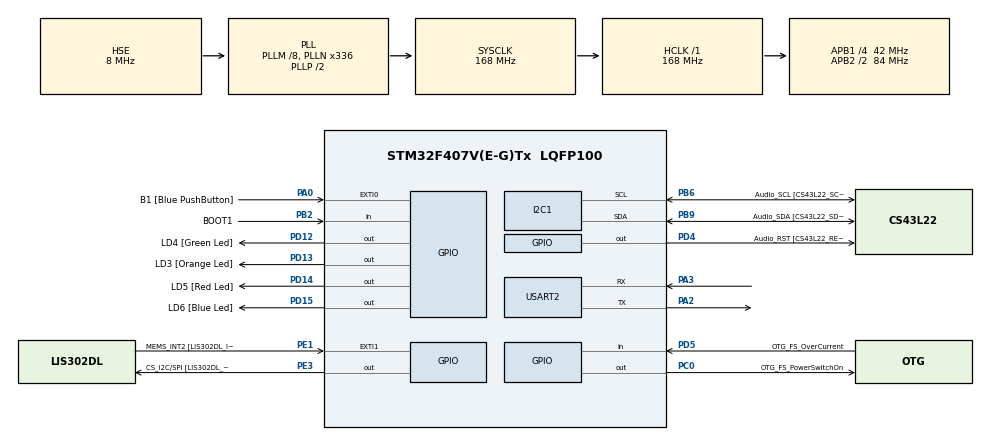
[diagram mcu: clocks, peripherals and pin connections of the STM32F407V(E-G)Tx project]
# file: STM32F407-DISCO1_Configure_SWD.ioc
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FREERTOS.BinarySemaphores01=myBinarySemITM,Dynamic,NULL,Available
FREERTOS.Mutexes01=myMutexITM,Dynamic,NULL,Available
FREERTOS.Tasks01=defaultTask,27,256,StartDefaultTask,Default,NULL,Dynamic,NULL,NULL;newAcquireTask,12,256,StartAcquireTask,Default,NULL,Dynamic,NULL,NULL;newAcquireTask2,13,128,StartAcquireTask2,Default,NULL,Dynamic,NULL,NULL
FREERTOS.configUSE_NEWLIB_REENTRANT=1
Mcu.Family=STM32F4
Mcu.Name=STM32F407V(E-G)Tx
Mcu.Package=LQFP100
NVIC.PriorityGroup=NVIC_PRIORITYGROUP_4
NVIC.TIM6_DAC_IRQn=true\:15\:0\:false\:false\:true\:false\:false\:true\:true
NVIC.TimeBase=TIM6_DAC_IRQn
NVIC.TimeBaseIP=TIM6
PA0-WKUP.GPIO_Label=B1 [Blue PushButton]
PA0-WKUP.GPIO_ModeDefaultEXTI=GPIO_MODE_EVT_RISING
PA0-WKUP.GPIO_PuPd=GPIO_NOPULL
PA0-WKUP.Signal=GPXTI0
PA10.GPIO_Label=OTG_FS_ID
PA10.GPIO_Mode=GPIO_MODE_AF_PP
PA10.GPIO_PuPd=GPIO_NOPULL
PA10.GPIO_Speed=GPIO_SPEED_FREQ_LOW
PA10.Signal=USB_OTG_FS_ID
PA11.GPIO_Label=OTG_FS_DM
PA11.GPIO_Mode=GPIO_MODE_AF_PP
PA11.GPIO_PuPd=GPIO_NOPULL
PA11.GPIO_Speed=GPIO_SPEED_FREQ_LOW
PA11.Signal=USB_OTG_FS_DM
PA12.GPIO_Label=OTG_FS_DP
PA12.GPIO_Mode=GPIO_MODE_AF_PP
PA12.GPIO_PuPd=GPIO_NOPULL
PA12.GPIO_Speed=GPIO_SPEED_FREQ_LOW
PA12.Signal=USB_OTG_FS_DP
PA13.GPIO_Label=SWDIO
PA13.Mode=Trace_Asynchronous_SW
PA13.Signal=SYS_JTMS-SWDIO
PA14.GPIO_Label=SWCLK
PA14.Mode=Trace_Asynchronous_SW
PA14.Signal=SYS_JTCK-SWCLK
PA2.Mode=Asynchronous
PA2.Signal=USART2_TX
PA3.Mode=Asynchronous
PA3.Signal=USART2_RX
PA4.GPIO_Label=I2S3_WS [CS43L22_LRCK]
PA4.GPIO_Mode=GPIO_MODE_AF_PP
PA4.GPIO_PuPd=GPIO_NOPULL
PA4.GPIO_Speed=GPIO_SPEED_FREQ_LOW
PA4.Signal=I2S3_WS
PA5.GPIO_Label=SPI1_SCK [LIS302DL_SCL/SPC]
PA5.GPIO_Mode=GPIO_MODE_AF_PP
PA5.GPIO_PuPd=GPIO_NOPULL
PA5.GPIO_Speed=GPIO_SPEED_FREQ_LOW
PA5.Signal=SPI1_SCK
PA6.GPIO_Label=SPI1_MISO [LIS302DL_SDO]
PA6.GPIO_Mode=GPIO_MODE_AF_PP
PA6.GPIO_PuPd=GPIO_NOPULL
PA6.GPIO_Speed=GPIO_SPEED_FREQ_LOW
PA6.Signal=SPI1_MISO
PA7.GPIO_Label=SPI1_MOSI [LIS302DL_SDA/SDI/SDO]
PA7.GPIO_Mode=GPIO_MODE_AF_PP
PA7.GPIO_PuPd=GPIO_NOPULL
PA7.GPIO_Speed=GPIO_SPEED_FREQ_LOW
PA7.Signal=SPI1_MOSI
PA9.GPIO_Label=VBUS_FS
PA9.GPIO_Mode=GPIO_MODE_INPUT
PA9.GPIO_PuPd=GPIO_NOPULL
PA9.Signal=USB_OTG_FS_VBUS
PB10.GPIO_Label=CLK_IN [MP45DT02_CLK]
PB10.GPIO_Mode=GPIO_MODE_AF_PP
PB10.GPIO_PuPd=GPIO_NOPULL
PB10.GPIO_Speed=GPIO_SPEED_FREQ_LOW
PB10.Signal=I2S2_CK
PB2.GPIO_Label=BOOT1
PB2.GPIO_Mode=GPIO_MODE_INPUT
PB2.GPIO_PuPd=GPIO_NOPULL
PB2.Signal=GPIO_Input
PB3.GPIO_Label=SWO
PB3.Mode=Trace_Asynchronous_SW
PB3.Signal=SYS_JTDO-SWO
PB6.GPIO_Label=Audio_SCL [CS43L22_SCL]
PB6.GPIO_Mode=GPIO_MODE_AF_OD
PB6.GPIO_Pu=GPIO_PULLUP
PB6.GPIO_PuPd=GPIO_NOPULL
PB6.GPIO_Speed=GPIO_SPEED_FREQ_LOW
PB6.Mode=I2C
PB6.Signal=I2C1_SCL
PB9.GPIO_Label=Audio_SDA [CS43L22_SDA]
PB9.GPIO_Mode=GPIO_MODE_AF_OD
PB9.GPIO_Pu=GPIO_PULLUP
PB9.GPIO_PuPd=GPIO_NOPULL
PB9.GPIO_Speed=GPIO_SPEED_FREQ_LOW
PB9.Mode=I2C
PB9.Signal=I2C1_SDA
PC0.GPIO_Label=OTG_FS_PowerSwitchOn
PC0.GPIO_PuPd=GPIO_NOPULL
PC0.GPIO_Speed=GPIO_SPEED_FREQ_LOW
PC0.PinState=GPIO_PIN_SET
PC0.Signal=GPIO_Output
PC10.GPIO_Label=I2S3_SCK [CS43L22_SCLK]
PC10.GPIO_Mode=GPIO_MODE_AF_PP
PC10.GPIO_PuPd=GPIO_NOPULL
PC10.GPIO_Speed=GPIO_SPEED_FREQ_LOW
PC10.Signal=I2S3_CK
PC12.GPIO_Label=I2S3_SD [CS43L22_SDIN]
PC12.GPIO_Mode=GPIO_MODE_AF_PP
PC12.GPIO_PuPd=GPIO_NOPULL
PC12.GPIO_Speed=GPIO_SPEED_FREQ_LOW
PC12.Signal=I2S3_SD
PC14-OSC32_IN.GPIO_Label=PC14-OSC32_IN
PC14-OSC32_IN.Mode=LSE-External-Oscillator
PC14-OSC32_IN.Signal=RCC_OSC32_IN
PC15-OSC32_OUT.GPIO_Label=PC15-OSC32_OUT
PC15-OSC32_OUT.Mode=LSE-External-Oscillator
PC15-OSC32_OUT.Signal=RCC_OSC32_OUT
PC3.GPIO_Label=PDM_OUT [MP45DT02_DOUT]
PC3.GPIO_Mode=GPIO_MODE_AF_PP
PC3.GPIO_PuPd=GPIO_NOPULL
PC3.GPIO_Speed=GPIO_SPEED_FREQ_LOW
PC3.Signal=I2S2_SD
PC7.GPIO_Label=I2S3_MCK [CS43L22_MCLK]
PC7.GPIO_Mode=GPIO_MODE_AF_PP
PC7.GPIO_PuPd=GPIO_NOPULL
PC7.GPIO_Speed=GPIO_SPEED_FREQ_LOW
PC7.Signal=I2S3_MCK
PD12.GPIO_Label=LD4 [Green Led]
PD12.GPIO_PuPd=GPIO_NOPULL
PD12.GPIO_Speed=GPIO_SPEED_FREQ_LOW
PD12.Signal=GPIO_Output
PD13.GPIO_Label=LD3 [Orange Led]
PD13.GPIO_PuPd=GPIO_NOPULL
PD13.GPIO_Speed=GPIO_SPEED_FREQ_LOW
PD13.Signal=GPIO_Output
PD14.GPIO_Label=LD5 [Red Led]
PD14.GPIO_PuPd=GPIO_NOPULL
PD14.GPIO_Speed=GPIO_SPEED_FREQ_LOW
PD14.Signal=GPIO_Output
PD15.GPIO_Label=LD6 [Blue Led]
PD15.GPIO_PuPd=GPIO_NOPULL
PD15.GPIO_Speed=GPIO_SPEED_FREQ_LOW
PD15.Signal=GPIO_Output
PD4.GPIO_Label=Audio_RST [CS43L22_RESET]
PD4.GPIO_PuPd=GPIO_NOPULL
PD4.GPIO_Speed=GPIO_SPEED_FREQ_LOW
PD4.Signal=GPIO_Output
PD5.GPIO_Label=OTG_FS_OverCurrent
PD5.GPIO_Mode=GPIO_MODE_INPUT
PD5.GPIO_PuPd=GPIO_NOPULL
PD5.Signal=GPIO_Input
PE1.GPIO_Label=MEMS_INT2 [LIS302DL_INT2]
PE1.GPIO_ModeDefaultEXTI=GPIO_MODE_EVT_RISING
PE1.GPIO_PuPd=GPIO_NOPULL
PE1.Signal=GPXTI1
PE3.GPIO_Label=CS_I2C/SPI [LIS302DL_CS_I2C/SPI]
PE3.GPIO_PuPd=GPIO_NOPULL
PE3.GPIO_Speed=GPIO_SPEED_FREQ_LOW
PE3.Signal=GPIO_Output
PH0-OSC_IN.GPIO_Label=PH0-OSC_IN
PH0-OSC_IN.Mode=HSE-External-Oscillator
PH0-OSC_IN.Signal=RCC_OSC_IN
PH1-OSC_OUT.GPIO_Label=PH1-OSC_OUT
PH1-OSC_OUT.Mode=HSE-External-Oscillator
PH1-OSC_OUT.Signal=RCC_OSC_OUT
ProjectManager.HeapSize=0x200
ProjectManager.StackSize=0x400
ProjectManager.TargetToolchain=STM32CubeIDE
RCC.48MHZClocksFreq_Value=48000000
RCC.AHBFreq_Value=168000000
RCC.APB1CLKDivider=RCC_HCLK_DIV4
RCC.APB1Freq_Value=42000000
RCC.APB1TimFreq_Value=84000000
RCC.APB2CLKDivider=RCC_HCLK_DIV2
RCC.APB2Freq_Value=84000000
RCC.APB2TimFreq_Value=168000000
RCC.CortexFreq_Value=168000000
RCC.HCLKFreq_Value=168000000
RCC.HSE_VALUE=8000000
RCC.HSI_VALUE=16000000
RCC.PLLM=8
RCC.PLLN=336
RCC.PLLQ=7
RCC.PLLSourceVirtual=RCC_PLLSOURCE_HSE
RCC.SYSCLKFreq_VALUE=168000000
RCC.SYSCLKSource=RCC_SYSCLKSOURCE_PLLCLK
RCC.VCOOutputFreq_Value=336000000
USART2.VirtualMode=VM_ASYNC
VP_FREERTOS_VS_CMSIS_V2.Mode=CMSIS_V2
VP_SYS_VS_tim6.Mode=TIM6
board=STM32F407G-DISC1

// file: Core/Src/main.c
/* USER CODE BEGIN Header */
/**
 ******************************************************************************
 * @file           : main.c
 * @brief          : Main program body
 * @details Target Board: STM32F407-DISCO1
 ******************************************************************************
 * @attention
 *
 * Copyright (c) 2026 STMicroelectronics.
 * All rights reserved.
 *
 * This software is licensed under terms that can be found in the LICENSE file
 * in the root directory of this software component.
 * If no LICENSE file comes with this software, it is provided AS-IS.
 *
 ******************************************************************************
 */
/* USER CODE END Header */
#include "main.h"
#include "cmsis_os.h"

/* USER CODE BEGIN Includes */

#include "custom.h"
#include "customTask.h"
#include "FreeRTOS.h"
#include "queue.h"

/* USER CODE END Includes */

/* USER CODE BEGIN PM */

volatile uint32_t Count = 0;

/* USER CODE END PM */

I2C_HandleTypeDef hi2c1;

UART_HandleTypeDef huart2;

/* Definitions for defaultTask */
osThreadId_t defaultTaskHandle;
const osThreadAttr_t defaultTask_attributes = { .name = "DefaultTask",
		.stack_size = 256 * 4, .priority = (osPriority_t) osPriorityNormal3, };

/* Definitions for newAcquireTask */
osThreadId_t newAcquireTaskHandle;
const osThreadAttr_t newAcquireTask_attributes = { .name = "CorrectedTask",
		.stack_size = 128 * 8, .priority = (osPriority_t) osPriorityLow4, };

/* Definitions for newAcquireTask2 */
osThreadId_t newAcquireTask2Handle;
const osThreadAttr_t newAcquireTask2_attributes = { .name = "newAcquireTask2",
		.stack_size = 128 * 8, .priority = (osPriority_t) osPriorityLow5, };

/* Definitions for myMutexITM */
osMutexId_t myMutexITMHandle;
const osMutexAttr_t myMutexITM_attributes = { .name = "myMutexITM" };

/* Definitions for myBinarySemITM */
osSemaphoreId_t myBinarySemITMHandle;
const osSemaphoreAttr_t myBinarySemITM_attributes = { .name = "myBinarySemITM" };
/* USER CODE BEGIN PV */

osThreadId_t debugTaskHandle;
const osThreadAttr_t taskDubug_attribute = { .name = "newDebugTask",
		.stack_size = 128.4 * 8, .priority =
				(osPriority_t) osPriorityAboveNormal4, };

/* Define Queue */
QueueHandle_t myQueue;

uint8_t retData;

/* USER CODE END PV */

void SystemClock_Config(void);
static void MX_GPIO_Init(void);
static void MX_I2C1_Init(void);
static void MX_USART2_UART_Init(void);
void StartDefaultTask(void *argument);

/* USER CODE BEGIN PFP */
void StartDebugTask(void *argument);

/* USER CODE END PFP */

int main(void)
{

	/* MCU Configuration--------------------------------------------------------*/

	/* Reset of all peripherals, Initializes the Flash interface and the Systick. */
	HAL_Init();

	/* Configure the system clock */
	SystemClock_Config();

	/* Initialize all configured peripherals */
	MX_GPIO_Init();
	MX_I2C1_Init();
	MX_USART2_UART_Init();

	/* USER CODE BEGIN 2 */

	DWT_Int();

	/* Initalize Queue */
	someQueue_t testQueue;
	initSomeQueue(&testQueue);

	/*Enqueue Data */
	enqueueData(&testQueue, 5);
	enqueueData(&testQueue, 10);
	enqueueData(&testQueue, 15);
	enqueueData(&testQueue, 20);

	/*Dequeue Data */
	retData = dequeueData(&testQueue);
	retData = dequeueData(&testQueue);
	retData = dequeueData(&testQueue);
	retData = dequeueData(&testQueue);

	retData = dequeueData(&testQueue);

	SWO_Pin_Init();
	ITM_TPIU_Init();

	/*Initializng Queue */
	myQueue = xQueueCreate(10, sizeof(char));

	/* USER CODE END 2 */

	/* Init scheduler */
	osKernelInitialize();
	/* Create the mutex(es) */
	/* creation of myMutexITM */
	myMutexITMHandle = osMutexNew(&myMutexITM_attributes);

	/* Create the semaphores(s) */
	/* creation of myBinarySemITM */
	myBinarySemITMHandle = osSemaphoreNew(1, 1, &myBinarySemITM_attributes);

	/* Create the thread(s) */
	/* creation of defaultTask */
	defaultTaskHandle = osThreadNew(StartDefaultTask, NULL,
			&defaultTask_attributes);

	/* creation of newAcquireTask */
	newAcquireTaskHandle = osThreadNew(StartAcquireTask, NULL,
			&newAcquireTask_attributes);

	/* creation of newAcquireTask2 */
	newAcquireTask2Handle = osThreadNew(StartAcquireTask2, NULL,
			&newAcquireTask2_attributes);

	/* USER CODE BEGIN RTOS_THREADS */
	debugTaskHandle = osThreadNew(StartDebugTask, NULL, &taskDubug_attribute);

	/* add threads, ... */
	/* USER CODE END RTOS_THREADS */

	/* Start scheduler */
	osKernelStart();

	/* We should never get here as control is now taken by the scheduler */

	/* Infinite loop */
	while (1)
	{

	}
}

void SystemClock_Config(void)
{
	RCC_OscInitTypeDef RCC_OscInitStruct = { 0 };
	RCC_ClkInitTypeDef RCC_ClkInitStruct = { 0 };

	/** Configure the main internal regulator output voltage
	 */
	__HAL_RCC_PWR_CLK_ENABLE();
	__HAL_PWR_VOLTAGESCALING_CONFIG(PWR_REGULATOR_VOLTAGE_SCALE1);

	/** Initializes the RCC Oscillators according to the specified parameters
	 * in the RCC_OscInitTypeDef structure.
	 */
	RCC_OscInitStruct.OscillatorType = RCC_OSCILLATORTYPE_HSE;
	RCC_OscInitStruct.HSEState = RCC_HSE_ON;
	RCC_OscInitStruct.PLL.PLLState = RCC_PLL_ON;
	RCC_OscInitStruct.PLL.PLLSource = RCC_PLLSOURCE_HSE;
	RCC_OscInitStruct.PLL.PLLM = 8;
	RCC_OscInitStruct.PLL.PLLN = 336;
	RCC_OscInitStruct.PLL.PLLP = RCC_PLLP_DIV2;
	RCC_OscInitStruct.PLL.PLLQ = 7;
	if (HAL_RCC_OscConfig(&RCC_OscInitStruct) != HAL_OK)
	{
		Error_Handler();
	}

	/** Initializes the CPU, AHB and APB buses clocks
	 */
	RCC_ClkInitStruct.ClockType = RCC_CLOCKTYPE_HCLK | RCC_CLOCKTYPE_SYSCLK
			| RCC_CLOCKTYPE_PCLK1 | RCC_CLOCKTYPE_PCLK2;
	RCC_ClkInitStruct.SYSCLKSource = RCC_SYSCLKSOURCE_PLLCLK;
	RCC_ClkInitStruct.AHBCLKDivider = RCC_SYSCLK_DIV1;
	RCC_ClkInitStruct.APB1CLKDivider = RCC_HCLK_DIV4;
	RCC_ClkInitStruct.APB2CLKDivider = RCC_HCLK_DIV2;

	if (HAL_RCC_ClockConfig(&RCC_ClkInitStruct, FLASH_LATENCY_5) != HAL_OK)
	{
		Error_Handler();
	}
}

static void MX_I2C1_Init(void)
{

	hi2c1.Instance = I2C1;
	hi2c1.Init.ClockSpeed = 100000;
	hi2c1.Init.DutyCycle = I2C_DUTYCYCLE_2;
	hi2c1.Init.OwnAddress1 = 0;
	hi2c1.Init.AddressingMode = I2C_ADDRESSINGMODE_7BIT;
	hi2c1.Init.DualAddressMode = I2C_DUALADDRESS_DISABLE;
	hi2c1.Init.OwnAddress2 = 0;
	hi2c1.Init.GeneralCallMode = I2C_GENERALCALL_DISABLE;
	hi2c1.Init.NoStretchMode = I2C_NOSTRETCH_DISABLE;
	if (HAL_I2C_Init(&hi2c1) != HAL_OK)
	{
		Error_Handler();
	}

}

static void MX_USART2_UART_Init(void)
{

	huart2.Instance = USART2;
	huart2.Init.BaudRate = 115200;
	huart2.Init.WordLength = UART_WORDLENGTH_8B;
	huart2.Init.StopBits = UART_STOPBITS_1;
	huart2.Init.Parity = UART_PARITY_NONE;
	huart2.Init.Mode = UART_MODE_TX_RX;
	huart2.Init.HwFlowCtl = UART_HWCONTROL_NONE;
	huart2.Init.OverSampling = UART_OVERSAMPLING_16;
	if (HAL_UART_Init(&huart2) != HAL_OK)
	{
		Error_Handler();
	}

}

static void MX_GPIO_Init(void)
{
	GPIO_InitTypeDef GPIO_InitStruct = { 0 };

	/* GPIO Ports Clock Enable */
	__HAL_RCC_GPIOE_CLK_ENABLE();
	__HAL_RCC_GPIOC_CLK_ENABLE();
	__HAL_RCC_GPIOH_CLK_ENABLE();
	__HAL_RCC_GPIOA_CLK_ENABLE();
	__HAL_RCC_GPIOB_CLK_ENABLE();
	__HAL_RCC_GPIOD_CLK_ENABLE();

	/*Configure GPIO pin Output Level */
	HAL_GPIO_WritePin(CS_I2C_SPI_GPIO_Port, CS_I2C_SPI_Pin, GPIO_PIN_RESET);

	/*Configure GPIO pin Output Level */
	HAL_GPIO_WritePin(OTG_FS_PowerSwitchOn_GPIO_Port, OTG_FS_PowerSwitchOn_Pin,
			GPIO_PIN_SET);

	/*Configure GPIO pin Output Level */
	HAL_GPIO_WritePin(GPIOD,
	LD4_Pin | LD3_Pin | LD5_Pin | LD6_Pin | Audio_RST_Pin, GPIO_PIN_RESET);

	/*Configure GPIO pin : CS_I2C_SPI_Pin */
	GPIO_InitStruct.Pin = CS_I2C_SPI_Pin;
	GPIO_InitStruct.Mode = GPIO_MODE_OUTPUT_PP;
	GPIO_InitStruct.Pull = GPIO_NOPULL;
	GPIO_InitStruct.Speed = GPIO_SPEED_FREQ_LOW;
	HAL_GPIO_Init(CS_I2C_SPI_GPIO_Port, &GPIO_InitStruct);

	/*Configure GPIO pin : OTG_FS_PowerSwitchOn_Pin */
	GPIO_InitStruct.Pin = OTG_FS_PowerSwitchOn_Pin;
	GPIO_InitStruct.Mode = GPIO_MODE_OUTPUT_PP;
	GPIO_InitStruct.Pull = GPIO_NOPULL;
	GPIO_InitStruct.Speed = GPIO_SPEED_FREQ_LOW;
	HAL_GPIO_Init(OTG_FS_PowerSwitchOn_GPIO_Port, &GPIO_InitStruct);

	/*Configure GPIO pin : PDM_OUT_Pin */
	GPIO_InitStruct.Pin = PDM_OUT_Pin;
	GPIO_InitStruct.Mode = GPIO_MODE_AF_PP;
	GPIO_InitStruct.Pull = GPIO_NOPULL;
	GPIO_InitStruct.Speed = GPIO_SPEED_FREQ_LOW;
	GPIO_InitStruct.Alternate = GPIO_AF5_SPI2;
	HAL_GPIO_Init(PDM_OUT_GPIO_Port, &GPIO_InitStruct);

	/*Configure GPIO pin : B1_Pin */
	GPIO_InitStruct.Pin = B1_Pin;
	GPIO_InitStruct.Mode = GPIO_MODE_EVT_RISING;
	GPIO_InitStruct.Pull = GPIO_NOPULL;
	HAL_GPIO_Init(B1_GPIO_Port, &GPIO_InitStruct);

	/*Configure GPIO pin : I2S3_WS_Pin */
	GPIO_InitStruct.Pin = I2S3_WS_Pin;
	GPIO_InitStruct.Mode = GPIO_MODE_AF_PP;
	GPIO_InitStruct.Pull = GPIO_NOPULL;
	GPIO_InitStruct.Speed = GPIO_SPEED_FREQ_LOW;
	GPIO_InitStruct.Alternate = GPIO_AF6_SPI3;
	HAL_GPIO_Init(I2S3_WS_GPIO_Port, &GPIO_InitStruct);

	/*Configure GPIO pins : SPI1_SCK_Pin SPI1_MISO_Pin SPI1_MOSI_Pin */
	GPIO_InitStruct.Pin = SPI1_SCK_Pin | SPI1_MISO_Pin | SPI1_MOSI_Pin;
	GPIO_InitStruct.Mode = GPIO_MODE_AF_PP;
	GPIO_InitStruct.Pull = GPIO_NOPULL;
	GPIO_InitStruct.Speed = GPIO_SPEED_FREQ_LOW;
	GPIO_InitStruct.Alternate = GPIO_AF5_SPI1;
	HAL_GPIO_Init(GPIOA, &GPIO_InitStruct);

	/*Configure GPIO pin : BOOT1_Pin */
	GPIO_InitStruct.Pin = BOOT1_Pin;
	GPIO_InitStruct.Mode = GPIO_MODE_INPUT;
	GPIO_InitStruct.Pull = GPIO_NOPULL;
	HAL_GPIO_Init(BOOT1_GPIO_Port, &GPIO_InitStruct);

	/*Configure GPIO pin : CLK_IN_Pin */
	GPIO_InitStruct.Pin = CLK_IN_Pin;
	GPIO_InitStruct.Mode = GPIO_MODE_AF_PP;
	GPIO_InitStruct.Pull = GPIO_NOPULL;
	GPIO_InitStruct.Speed = GPIO_SPEED_FREQ_LOW;
	GPIO_InitStruct.Alternate = GPIO_AF5_SPI2;
	HAL_GPIO_Init(CLK_IN_GPIO_Port, &GPIO_InitStruct);

	/*Configure GPIO pins : LD4_Pin LD3_Pin LD5_Pin LD6_Pin
	 Audio_RST_Pin */
	GPIO_InitStruct.Pin = LD4_Pin | LD3_Pin | LD5_Pin | LD6_Pin | Audio_RST_Pin;
	GPIO_InitStruct.Mode = GPIO_MODE_OUTPUT_PP;
	GPIO_InitStruct.Pull = GPIO_NOPULL;
	GPIO_InitStruct.Speed = GPIO_SPEED_FREQ_LOW;
	HAL_GPIO_Init(GPIOD, &GPIO_InitStruct);

	/*Configure GPIO pins : I2S3_MCK_Pin I2S3_SCK_Pin I2S3_SD_Pin */
	GPIO_InitStruct.Pin = I2S3_MCK_Pin | I2S3_SCK_Pin | I2S3_SD_Pin;
	GPIO_InitStruct.Mode = GPIO_MODE_AF_PP;
	GPIO_InitStruct.Pull = GPIO_NOPULL;
	GPIO_InitStruct.Speed = GPIO_SPEED_FREQ_LOW;
	GPIO_InitStruct.Alternate = GPIO_AF6_SPI3;
	HAL_GPIO_Init(GPIOC, &GPIO_InitStruct);

	/*Configure GPIO pin : VBUS_FS_Pin */
	GPIO_InitStruct.Pin = VBUS_FS_Pin;
	GPIO_InitStruct.Mode = GPIO_MODE_INPUT;
	GPIO_InitStruct.Pull = GPIO_NOPULL;
	HAL_GPIO_Init(VBUS_FS_GPIO_Port, &GPIO_InitStruct);

	/*Configure GPIO pins : OTG_FS_ID_Pin OTG_FS_DM_Pin OTG_FS_DP_Pin */
	GPIO_InitStruct.Pin = OTG_FS_ID_Pin | OTG_FS_DM_Pin | OTG_FS_DP_Pin;
	GPIO_InitStruct.Mode = GPIO_MODE_AF_PP;
	GPIO_InitStruct.Pull = GPIO_NOPULL;
	GPIO_InitStruct.Speed = GPIO_SPEED_FREQ_LOW;
	GPIO_InitStruct.Alternate = GPIO_AF10_OTG_FS;
	HAL_GPIO_Init(GPIOA, &GPIO_InitStruct);

	/*Configure GPIO pin : OTG_FS_OverCurrent_Pin */
	GPIO_InitStruct.Pin = OTG_FS_OverCurrent_Pin;
	GPIO_InitStruct.Mode = GPIO_MODE_INPUT;
	GPIO_InitStruct.Pull = GPIO_NOPULL;
	HAL_GPIO_Init(OTG_FS_OverCurrent_GPIO_Port, &GPIO_InitStruct);

	/*Configure GPIO pin : MEMS_INT2_Pin */
	GPIO_InitStruct.Pin = MEMS_INT2_Pin;
	GPIO_InitStruct.Mode = GPIO_MODE_EVT_RISING;
	GPIO_InitStruct.Pull = GPIO_NOPULL;
	HAL_GPIO_Init(MEMS_INT2_GPIO_Port, &GPIO_InitStruct);

}

void StartDefaultTask(void *argument)
{
	/* USER CODE BEGIN 5 */
	/* Infinite loop */
	for (;;)
	{
		vTaskDelay(pdMS_TO_TICKS(200));

	}
	/* USER CODE END 5 */
}

void HAL_TIM_PeriodElapsedCallback(TIM_HandleTypeDef *htim)
{
	if (htim->Instance == TIM6)
	{
		HAL_IncTick();
	}
}

void Error_Handler(void)
{
	__disable_irq();
	while (1)
	{
	}
}
